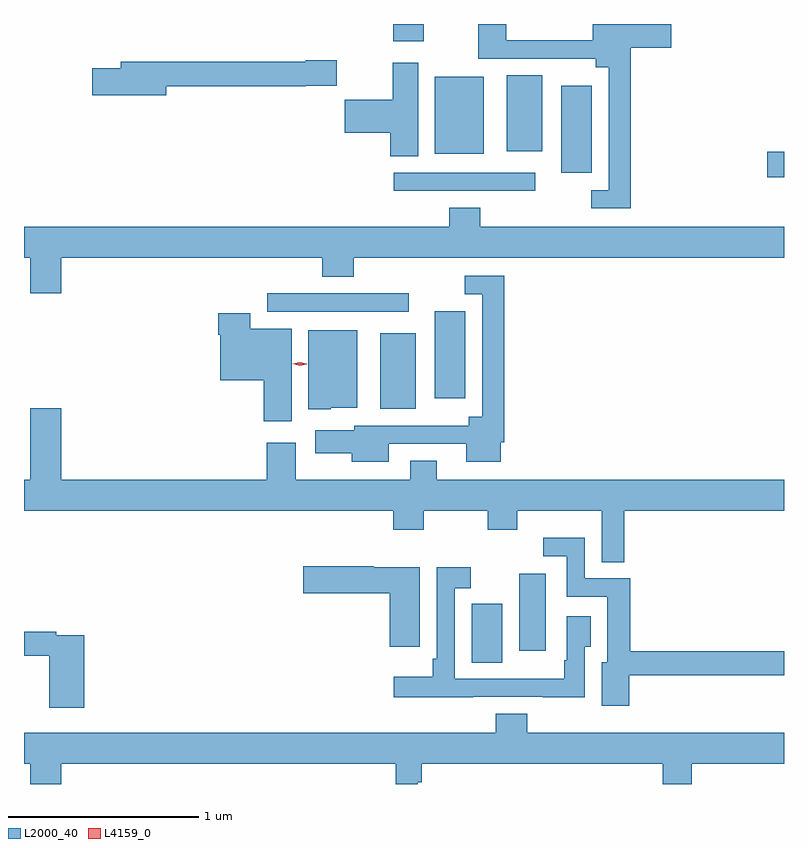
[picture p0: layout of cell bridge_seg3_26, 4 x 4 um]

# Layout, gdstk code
import gdstk
lib = gdstk.Library(unit=1e-6, precision=1e-09)
def R(c, l, rs):  # rectangles x0, y0, x1, y1
    for r in rs: c.add(gdstk.rectangle(r[:2], r[2:], *l))
def P(c, l, *ps):  # polygons
    for p in ps: c.add(gdstk.Polygon(p, *l))
L2000_40 = (2000, 40)
L4159_0 = (4159, 0)

bridge_seg3_26 = lib.new_cell('bridge_seg3_26')
R(bridge_seg3_26, L2000_40, [(718.781,729.421,718.942,729.732), (719.03,729.483,719.17,729.889), (718.298,730.757,718.486,731.155), (718.586,730.812,718.747,731.269), (717.705,731.268,718.45,731.364), (718.371,731.904,719.116,732), (720.336,731.975,720.424,732.11), (719.252,731.999,719.413,732.457), (718.586,732.098,718.843,732.505), (718.964,732.113,719.152,732.511), (718.367,732.69,718.527,732.782)])
P(bridge_seg3_26, L2000_40, [(719.618,732.656),(719.83,732.656),(719.83,732.782),(719.417,732.782),(719.417,732.696),(718.963,732.696),(718.963,732.782),(718.816,732.782),(718.816,732.6),(719.432,732.6),(719.432,732.554),(719.502,732.554),(719.502,731.907),(719.409,731.907),(719.409,731.811),(719.618,731.811)],
  [(717.172,732.454),(717.906,732.454),(717.906,732.456),(718.069,732.456),(718.069,732.591),(717.906,732.591),(717.906,732.583),(716.933,732.583),(716.933,732.549),(716.784,732.549),(716.784,732.407),(717.172,732.407)],
  [(718.498,732.577),(718.364,732.577),(718.364,732.383),(718.113,732.383),(718.113,732.209),(718.352,732.209),(718.352,732.085),(718.498,732.085)],
  [(716.62,731.552),(717.995,731.552),(717.995,731.453),(718.16,731.453),(718.16,731.552),(720.424,731.552),(720.424,731.716),(718.826,731.716),(718.826,731.815),(718.661,731.815),(718.661,731.716),(716.424,731.716),(716.424,731.552),(716.456,731.552),(716.456,731.364),(716.62,731.364)],
  [(718.345,730.572),(718.751,730.572),(718.751,730.478),(718.933,730.478),(718.933,730.582),(718.952,730.582),(718.952,731.457),(718.743,731.457),(718.743,731.36),(718.836,731.36),(718.836,730.714),(718.766,730.714),(718.766,730.668),(718.161,730.668),(718.161,730.645),(717.957,730.645),(717.957,730.523),(718.15,730.523),(718.15,730.478),(718.345,730.478)],
  [(717.832,731.179),(717.616,731.179),(717.616,731.26),(717.446,731.26),(717.446,731.147),(717.458,731.147),(717.458,730.907),(717.686,730.907),(717.686,730.692),(717.832,730.692)],
  [(718.038,730.763),(718.177,730.763),(718.177,731.17),(717.92,731.17),(717.92,730.754),(718.038,730.754)],
  [(719.584,730.22),(720.424,730.22),(720.424,730.384),(718.597,730.384),(718.597,730.483),(718.457,730.483),(718.457,730.384),(717.853,730.384),(717.853,730.579),(717.701,730.579),(717.701,730.384),(716.62,730.384),(716.62,730.759),(716.456,730.759),(716.456,730.384),(716.424,730.384),(716.424,730.22),(718.367,730.22),(718.367,730.121),(718.527,730.121),(718.527,730.22),(718.864,730.22),(718.864,730.121),(719.019,730.121),(719.019,730.22),(719.465,730.22),(719.465,729.949),(719.584,729.949)],
  [(719.609,729.354),(720.424,729.354),(720.424,729.482),(719.614,729.482),(719.614,729.864),(719.376,729.864),(719.376,730.078),(719.157,730.078),(719.157,729.981),(719.28,729.981),(719.28,729.768),(719.495,729.768),(719.495,729.423),(719.465,729.423),(719.465,729.195),(719.609,729.195)],
  [(718.507,729.922),(718.265,729.922),(718.265,729.927),(717.894,729.927),(717.894,729.785),(718.349,729.785),(718.349,729.504),(718.507,729.504)],
  [(718.789,729.24),(719.155,729.24),(719.155,729.239),(719.376,729.239),(719.376,729.505),(719.407,729.505),(719.407,729.664),(719.28,729.664),(719.28,729.433),(719.268,729.433),(719.268,729.337),(719.038,729.337),(719.038,729.336),(718.692,729.336),(718.692,729.813),(718.774,729.813),(718.774,729.922),(718.596,729.922),(718.596,729.442),(718.576,729.442),(718.576,729.346),(718.371,729.346),(718.371,729.239),(718.789,729.239)],
  [(716.741,729.564),(716.594,729.564),(716.594,729.584),(716.424,729.584),(716.424,729.456),(716.558,729.456),(716.558,729.183),(716.741,729.183)],
  [(716.62,728.888),(718.381,728.888),(718.381,728.782),(718.497,728.782),(718.497,728.792),(718.517,728.792),(718.517,728.888),(719.786,728.888),(719.786,728.782),(719.938,728.782),(719.938,728.888),(720.424,728.888),(720.424,729.052),(719.072,729.052),(719.072,729.151),(718.907,729.151),(718.907,729.052),(716.424,729.052),(716.424,728.888),(716.456,728.888),(716.456,728.782),(716.62,728.782)])
P(bridge_seg3_26, L4159_0, [(717.875,730.983),(717.839,730.993),(717.839,730.994),(717.839,730.994),(717.876,731.003),(717.912,730.993),(717.912,730.992),(717.912,730.992)])

lib.write_gds('bridge_seg3_26.gds')
